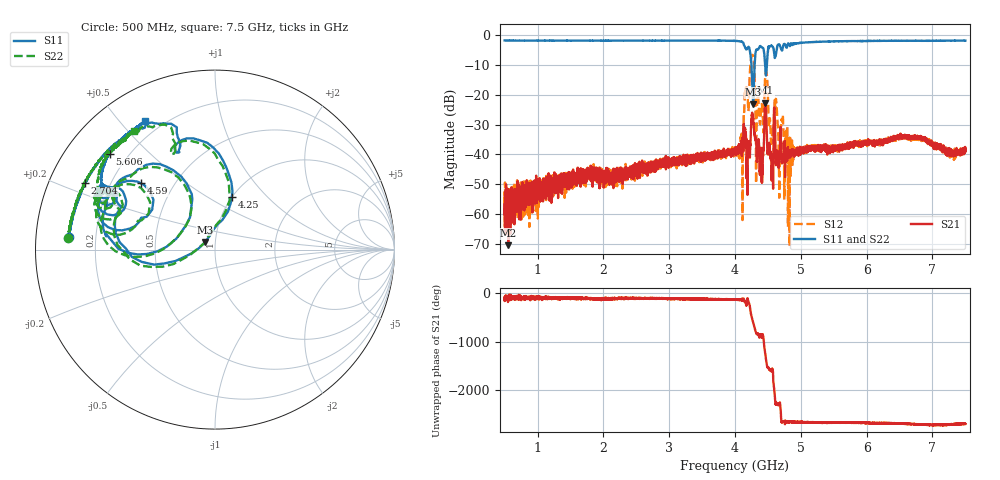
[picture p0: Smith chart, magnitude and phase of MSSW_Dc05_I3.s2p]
!Keysight Technologies,M9374A,MY55442783,A.12.55.05
!Date: Wednesday, May 19, 2021 19:11:58
!Correction: S11(Full 2 Port(1,2))
!S21(Full 2 Port(1,2))
!S12(Full 2 Port(1,2))
!S22(Full 2 Port(1,2))
!S2P File: Measurements: S11, S21, S12, S22:
# Hz S  RI  R 50
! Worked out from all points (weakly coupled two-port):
!   7001 points, 500 MHz to 7.5 GHz, reference 50 ohm
!   highest |S21| = -22.68 dB at 4.462 GHz (marker M1); lowest = -70.5 dB at 555 MHz (marker M2)
!   lowest |S11| = -23.2 dB at 4.276 GHz (marker M3), VSWR 1.15, Z = 44.6 + j3.78 ohm
!   |S11| at or under -10 dB: 4.25 GHz to 4.298 GHz (48.27 MHz wide, 1.13 % of centre); 4.457 GHz to 4.484 GHz (26.12 MHz wide, 0.584 % of centre)
!   |S22| runs from -23.0 to -1.7 dB; largest |S21 - S12| = 0.42
!   S11 on the Smith chart (normalised r, x): 500 MHz: 0.10, +0.04; 2.704 GHz: 0.11, +0.24; 4.25 GHz: 1.00, +0.65; 4.59 GHz: 0.32, +0.35; 5.606 GHz: 0.13, +0.38; 7.5 GHz: 0.14, +0.59
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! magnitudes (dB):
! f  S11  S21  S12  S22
! 500 MHz  -1.7  -56.7  -54.8  -1.7
! 555 MHz  -1.8  -70.5  -58.1  -1.7
! 1.667 GHz  -1.8  -45.4  -48.7  -1.8
! 2.704 GHz  -1.8  -44.9  -44.4  -1.8
! 2.834 GHz  -1.8  -42.4  -43.0  -1.8
! 4 GHz  -1.9  -39.3  -38.6  -1.9
! 4.094 GHz  -2.0  -36.5  -33.8  -2.0
! 4.161 GHz  -4.3  -33.8  -18.6  -4.1
! 4.203 GHz  -4.0  -35.6  -25.5  -4.1
! 4.25 GHz  -10.2  -28.2  -7.3  -10.0
! 4.276 GHz  -23.2  -27.8  -7.1  -23.0
! 4.347 GHz  -4.8  -37.1  -19.9  -4.8
! 4.406 GHz  -4.1  -44.7  -23.2  -4.1
! 4.462 GHz  -11.8  -22.7  -13.1  -12.2
! 4.485 GHz  -9.5  -34.3  -13.6  -9.0
! 4.542 GHz  -3.7  -39.7  -33.5  -3.6
! 4.59 GHz  -5.1  -26.3  -30.0  -5.1
! 4.837 GHz  -3.5  -39.8  -34.0  -3.4
! 5.167 GHz  -2.3  -38.0  -37.7  -2.3
! 5.606 GHz  -2.0  -38.3  -37.5  -2.0
! 6.334 GHz  -1.9  -34.9  -34.6  -2.0
! 7.5 GHz  -1.8  -38.8  -38.7  -1.9
